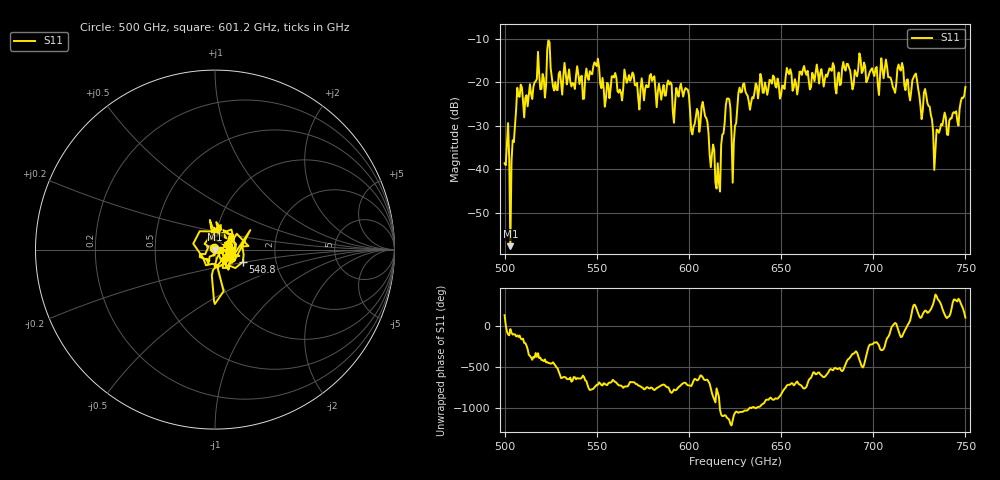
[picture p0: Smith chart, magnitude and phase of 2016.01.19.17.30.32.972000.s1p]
!Created with skrf (http://scikit-rf.org).
# GHz S RI R 50.0
!freq ReS11 ImS11
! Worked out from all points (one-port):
!   401 points, 500 GHz to 750 GHz, reference 50 ohm
!   lowest |S11| = -57.6 dB at 503.1 GHz (marker M1), VSWR 1.00, Z = 50.1 - j0.0825 ohm
!   |S11| at or under -10 dB: start of sweep to end of sweep
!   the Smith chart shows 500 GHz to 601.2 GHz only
!   S11 on the Smith chart (normalised r, x): 500 GHz: 0.99, +0.02; 548.8 GHz: 1.35, -0.19; 601.2 GHz: 1.06, -0.01
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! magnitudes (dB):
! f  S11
! 500 GHz  -38.6
! 503.1 GHz  -57.6
! 504.4 GHz  -33.3
! 508.1 GHz  -23.3
! 521.2 GHz  -19.1
! 524.4 GHz  -10.8
! 527.5 GHz  -19.9
! 531.2 GHz  -22.8
! 548.8 GHz  -15.4
! 562.5 GHz  -21.6
! 568.8 GHz  -19.0
! 593.8 GHz  -22.2
! 598.8 GHz  -21.5
! 601.2 GHz  -31.1
! 608.1 GHz  -26.1
! 615.6 GHz  -38.6
! 620.6 GHz  -23.8
! 625 GHz  -30.0
! 628.8 GHz  -22.2
! 656.2 GHz  -21.9
! 687.5 GHz  -17.3
! 705.6 GHz  -19.1
! 711.2 GHz  -21.6
! 715 GHz  -17.3
! 718.8 GHz  -19.3
! 728.8 GHz  -22.9
! 734.4 GHz  -30.9
! 750 GHz  -21.1
